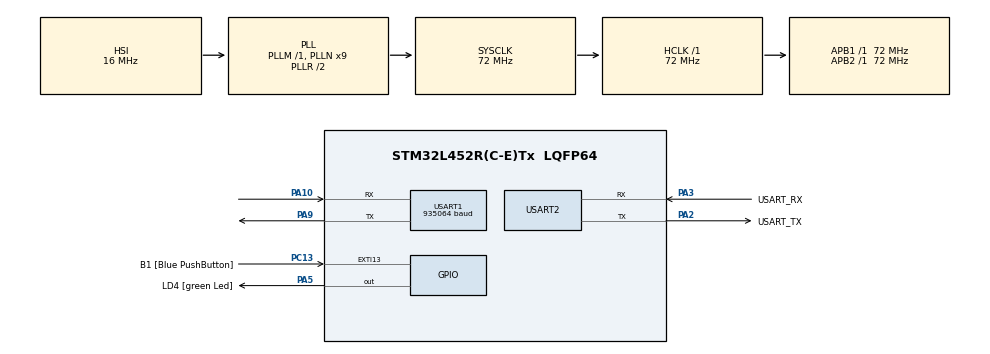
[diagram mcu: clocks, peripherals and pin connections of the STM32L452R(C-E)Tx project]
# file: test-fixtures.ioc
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Mcu.Family=STM32L4
Mcu.Name=STM32L452R(C-E)Tx
Mcu.Package=LQFP64
NVIC.PriorityGroup=NVIC_PRIORITYGROUP_4
NVIC.USART1_IRQn=true\:0\:0\:false\:false\:true\:true\:true\:true
NVIC.USART2_IRQn=true\:0\:0\:false\:false\:true\:true\:true\:true
PA10.Mode=Asynchronous
PA10.Signal=USART1_RX
PA13\ (JTMS/SWDIO).GPIO_Label=TMS
PA13\ (JTMS/SWDIO).Mode=Serial_Wire
PA13\ (JTMS/SWDIO).Signal=SYS_JTMS-SWDIO
PA14\ (JTCK/SWCLK).GPIO_Label=TCK
PA14\ (JTCK/SWCLK).Mode=Serial_Wire
PA14\ (JTCK/SWCLK).Signal=SYS_JTCK-SWCLK
PA2.GPIO_Label=USART_TX
PA2.GPIO_Mode=GPIO_MODE_AF_PP
PA2.GPIO_PuPd=GPIO_NOPULL
PA2.GPIO_Speed=GPIO_SPEED_FREQ_VERY_HIGH
PA2.Mode=Asynchronous
PA2.Signal=USART2_TX
PA3.GPIO_Label=USART_RX
PA3.GPIO_Mode=GPIO_MODE_AF_PP
PA3.GPIO_PuPd=GPIO_NOPULL
PA3.GPIO_Speed=GPIO_SPEED_FREQ_VERY_HIGH
PA3.Mode=Asynchronous
PA3.Signal=USART2_RX
PA5.GPIO_Label=LD4 [green Led]
PA5.GPIO_ModeDefaultOutputPP=GPIO_MODE_OUTPUT_PP
PA5.GPIO_PuPd=GPIO_NOPULL
PA5.GPIO_Speed=GPIO_SPEED_FREQ_LOW
PA5.Signal=GPIO_Output
PA9.Mode=Asynchronous
PA9.Signal=USART1_TX
PB3\ (JTDO/TRACESWO).GPIO_Label=SWO
PB3\ (JTDO/TRACESWO).Signal=SYS_JTDO-SWO
PC13.GPIO_Label=B1 [Blue PushButton]
PC13.GPIO_ModeDefaultEXTI=GPIO_MODE_IT_FALLING
PC13.GPIO_PuPd=GPIO_NOPULL
PC13.Signal=GPXTI13
PC14-OSC32_IN\ (PC14).Mode=LSE-External-Oscillator
PC14-OSC32_IN\ (PC14).Signal=RCC_OSC32_IN
PC15-OSC32_OUT\ (PC15).Mode=LSE-External-Oscillator
PC15-OSC32_OUT\ (PC15).Signal=RCC_OSC32_OUT
PH0-OSC_IN\ (PH0).Signal=RCC_OSC_IN
PH1-OSC_OUT\ (PH1).Signal=RCC_OSC_OUT
ProjectManager.HeapSize=0x200
ProjectManager.StackSize=0x400
ProjectManager.TargetToolchain=STM32CubeIDE
RCC.ADCFreq_Value=64000000
RCC.AHBFreq_Value=72000000
RCC.APB1Freq_Value=72000000
RCC.APB1TimFreq_Value=72000000
RCC.APB2Freq_Value=72000000
RCC.APB2TimFreq_Value=72000000
RCC.CortexFreq_Value=72000000
RCC.HCLKFreq_Value=72000000
RCC.HSE_VALUE=8000000
RCC.HSI48_VALUE=48000000
RCC.HSI_VALUE=16000000
RCC.MSI_VALUE=4000000
RCC.PLLN=9
RCC.PLLSourceVirtual=RCC_PLLSOURCE_HSI
RCC.PREFETCH_ENABLE=1
RCC.SYSCLKFreq_VALUE=72000000
RCC.SYSCLKSource=RCC_SYSCLKSOURCE_PLLCLK
RCC.USBFreq_Value=64000000
RCC.VCOOutputFreq_Value=144000000
USART1.VirtualMode-Asynchronous=VM_ASYNC
USART2.VirtualMode-Asynchronous=VM_ASYNC
board=NUCLEO-L452RE
USART1.BaudRate=935064

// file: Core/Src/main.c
/* USER CODE BEGIN Header */
/**
  ******************************************************************************
  * @file           : main.c
  * @brief          : Main program body
  ******************************************************************************
  * @attention
  *
  * Copyright (c) 2026 STMicroelectronics.
  * All rights reserved.
  *
  * This software is licensed under terms that can be found in the LICENSE file
  * in the root directory of this software component.
  * If no LICENSE file comes with this software, it is provided AS-IS.
  *
  ******************************************************************************
  */
/* USER CODE END Header */
#include "main.h"
#include <stdio.h>
#include <stdlib.h>
#include <string.h>

/* USER CODE BEGIN PTD */
typedef struct {
  uint8_t data[256];
  volatile uint16_t head;
  volatile uint16_t tail;
} RxQueue;

/* USER CODE END PTD */

/* USER CODE BEGIN PD */
/* 1: USB USART2 <-> external USART1 for the D8-D2 jumper test.
 * 0: echo USART1 payload back to USART1 for the later SiWx917 test.
 * Remove the D8-D2 jumper BEFORE selecting mode 0. */
#define LOCAL_TEST 0

/* USER CODE END PD */

UART_HandleTypeDef huart1;
UART_HandleTypeDef huart2;

/* USER CODE BEGIN PV */
static RxQueue target_queue;
static RxQueue usb_queue;
static uint8_t target_byte;
static uint8_t usb_byte;
#define TARGET_DMA_RX_SIZE 16384U
static uint8_t target_dma_rx[TARGET_DMA_RX_SIZE];
static uint32_t target_dma_read;
static uint32_t target_dma_consumed;
volatile uint32_t target_dma_rx_wraps, target_dma_produced_bytes;
volatile uint32_t target_dma_overrun_bytes, target_dma_backpressure;
volatile uint32_t target_uart_brr;
volatile uint32_t target_fixture_version = 0x00030800U;
volatile uint32_t target_dma_received_bytes;
volatile uint32_t target_dma_rx_hash = 2166136261U;
volatile uint32_t target_dma_errors;
volatile uint32_t uart_overrun_errors;
volatile uint32_t uart_framing_errors;
volatile uint32_t uart_noise_errors;
volatile uint32_t uart_last_error_flags;
#define TARGET_DMA_TX_SIZE 16384U
static uint8_t target_dma_tx[TARGET_DMA_TX_SIZE];
static volatile uint32_t target_tx_head, target_tx_tail, target_tx_active;
volatile uint32_t target_dma_transmitted_bytes, target_dma_tx_errors, target_dma_tx_queue_peak;
volatile uint32_t target_dma_tx_hash = 2166136261U;
static volatile uint32_t target_tx_failed;

volatile uint32_t uart_errors = 0;
volatile uint32_t queue_overflows = 0;

/* USER CODE END PV */

void SystemClock_Config(void);
static void MX_GPIO_Init(void);
static void MX_USART1_UART_Init(void);
static void MX_USART2_UART_Init(void);

/* USER CODE BEGIN 0 */
/* One ISR producer and one main-loop consumer per queue. */
static void queue_push(RxQueue *q, uint8_t value)
{
  uint16_t next = (uint16_t)((q->head + 1U) & 255U);
  if (next == q->tail) {
    queue_overflows++;
    return;
  }

  q->data[q->head] = value;
  __DMB();
  q->head = next;
}

static int queue_pop(RxQueue *q, uint8_t *value)
{
  if (q->head == q->tail) {
    return 0;
  }

  __DMB();
  *value = q->data[q->tail];
  __DMB();
  q->tail = (uint16_t)((q->tail + 1U) & 255U);
  return 1;
}

void HAL_UART_RxCpltCallback(UART_HandleTypeDef *huart)
{
  /* No blocking UART transmission in the interrupt callback. */
  if (huart->Instance == USART1) {
    uint8_t received = target_byte;
    if (HAL_UART_Receive_IT(&huart1, &target_byte, 1U) != HAL_OK) {
      uart_errors++;
    }
    queue_push(&target_queue, received);
  }
  else if (huart->Instance == USART2) {
    uint8_t received = usb_byte;
    if (HAL_UART_Receive_IT(&huart2, &usb_byte, 1U) != HAL_OK) {
      uart_errors++;
    }
    queue_push(&usb_queue, received);
  }
}

void HAL_UART_ErrorCallback(UART_HandleTypeDef *huart)
{
  uart_errors++;

  /* HAL can stop reception after an overrun. Re-arm if it was stopped;
   * non-blocking framing/parity errors can leave reception active. */
  if (huart->RxState == HAL_UART_STATE_READY) {
    if (huart->Instance == USART1) {
      if (HAL_UART_Receive_IT(&huart1, &target_byte, 1U) != HAL_OK) {
        uart_errors++;
      }
    }
    else if (huart->Instance == USART2 && LOCAL_TEST) {
      if (HAL_UART_Receive_IT(&huart2, &usb_byte, 1U) != HAL_OK) {
        uart_errors++;
      }
    }
  }
}

/* RM0394: USART1_TX uses DMA1 channel4, request2. Re-arm on DMA
 * completion while the last byte is still in the UART, avoiding inter-block
 * stop-and-wait gaps. RX capture and main-loop hashing stay independent. */
static void target_dma_tx_kick(void)
{
  if (target_tx_active || target_tx_failed || target_tx_head == target_tx_tail) return;
  uint32_t count = (target_tx_head + TARGET_DMA_TX_SIZE - target_tx_tail) % TARGET_DMA_TX_SIZE;
  if (count > TARGET_DMA_TX_SIZE - target_tx_tail) count = TARGET_DMA_TX_SIZE - target_tx_tail;
  if (count > 1024U) count = 1024U;
  DMA1_Channel4->CCR = 0U;
  DMA1->IFCR = DMA_IFCR_CGIF4;
  DMA1_Channel4->CMAR = (uint32_t)&target_dma_tx[target_tx_tail];
  DMA1_Channel4->CNDTR = count;
  target_tx_active = count;
  __DMB();
  DMA1_Channel4->CCR = DMA_CCR_MINC | DMA_CCR_DIR | DMA_CCR_PL_1
                    | DMA_CCR_TCIE | DMA_CCR_TEIE | DMA_CCR_EN;
}

void DMA1_Channel4_IRQHandler(void)
{
  uint32_t flags = DMA1->ISR;
  if (flags & DMA_ISR_TEIF4) {
    DMA1_Channel4->CCR = 0U;
    DMA1->IFCR = DMA_IFCR_CGIF4;
    target_dma_tx_errors++;
    target_tx_failed = 1U;
    return;
  }
  if (flags & DMA_ISR_TCIF4) {
    DMA1_Channel4->CCR = 0U;
    DMA1->IFCR = DMA_IFCR_CGIF4;
    uint32_t count = target_tx_active;
    target_dma_transmitted_bytes += count;
    target_tx_tail = (target_tx_tail + count) % TARGET_DMA_TX_SIZE;
    target_tx_active = 0U;
    target_dma_tx_kick();
  }
}

/* Count full circular DMA laps. Modulo NDTR alone cannot detect lost laps. */
void DMA1_Channel5_IRQHandler(void)
{
  uint32_t flags = DMA1->ISR;
  if (flags & DMA_ISR_TEIF5) target_dma_errors++;
  if (flags & DMA_ISR_TCIF5) target_dma_rx_wraps++;
  DMA1->IFCR = DMA_IFCR_CGIF5;
}

/* USART1_RX: DMA1 channel 5, request 2 (RM0394 DMA1 request table).
 * Keep capture active while main transmits whole blocks back to the radio. */
static void target_dma_start(void)
{
  __HAL_RCC_DMA1_CLK_ENABLE();
  DMA1_Channel5->CCR = 0U;
  DMA1_CSELR->CSELR = (DMA1_CSELR->CSELR & ~DMA_CSELR_C5S) | (2U << DMA_CSELR_C5S_Pos);
  DMA1_Channel5->CPAR = (uint32_t)&USART1->RDR;
  DMA1_Channel5->CMAR = (uint32_t)target_dma_rx;
  DMA1_Channel5->CNDTR = TARGET_DMA_RX_SIZE;
  DMA1->IFCR = DMA_IFCR_CGIF5;
  HAL_NVIC_SetPriority(DMA1_Channel5_IRQn, 0U, 0U);
  HAL_NVIC_EnableIRQ(DMA1_Channel5_IRQn);
  DMA1_Channel5->CCR = DMA_CCR_MINC | DMA_CCR_CIRC | DMA_CCR_PL_1
                    | DMA_CCR_TCIE | DMA_CCR_TEIE | DMA_CCR_EN;
  USART1->ICR = USART_ICR_ORECF | USART_ICR_FECF | USART_ICR_NCF | USART_ICR_PECF;
  DMA1_Channel4->CCR = 0U;
  DMA1_CSELR->CSELR = (DMA1_CSELR->CSELR & ~DMA_CSELR_C4S) | (2U << DMA_CSELR_C4S_Pos);
  DMA1_Channel4->CPAR = (uint32_t)&USART1->TDR;
  DMA1->IFCR = DMA_IFCR_CGIF4;
  HAL_NVIC_SetPriority(DMA1_Channel4_IRQn, 1U, 0U);
  HAL_NVIC_EnableIRQ(DMA1_Channel4_IRQn);
  USART1->CR3 |= USART_CR3_DMAR | USART_CR3_DMAT;
}

static void target_dma_echo(void)
{
  uint32_t errors = USART1->ISR & (USART_ISR_ORE | USART_ISR_FE | USART_ISR_NE | USART_ISR_PE);
  if (errors != 0U) {
    uart_errors++;
    uart_last_error_flags = errors;
    if (errors & USART_ISR_ORE) uart_overrun_errors++;
    if (errors & USART_ISR_FE) uart_framing_errors++;
    if (errors & USART_ISR_NE) uart_noise_errors++;
    USART1->ICR = USART_ICR_ORECF | USART_ICR_FECF | USART_ICR_NCF | USART_ICR_PECF;
  }
  /* Capture the lap count and NDTR atomically with respect to the ISR.
   * A pending TC means hardware wrapped before the ISR could count it.
   * At NDTR=0 the old lap's endpoint already represents that same byte. */
  uint32_t state = __get_PRIMASK(); __disable_irq();
  uint32_t wraps = target_dma_rx_wraps;
  uint32_t remaining = DMA1_Channel5->CNDTR;
  if (DMA1->ISR & DMA_ISR_TCIF5) {
    remaining = DMA1_Channel5->CNDTR;
    if (remaining) wraps++;
  }
  uint32_t produced = wraps * TARGET_DMA_RX_SIZE + TARGET_DMA_RX_SIZE - remaining;
  __set_PRIMASK(state);
  target_dma_produced_bytes = produced;
  uint32_t length = produced - target_dma_consumed;
  if (length > TARGET_DMA_RX_SIZE) {
    target_dma_overrun_bytes += length - TARGET_DMA_RX_SIZE;
    queue_overflows++;
    target_dma_consumed = produced - TARGET_DMA_RX_SIZE;
    length = TARGET_DMA_RX_SIZE;
  }
  target_dma_read = target_dma_consumed % TARGET_DMA_RX_SIZE;
  if (length > TARGET_DMA_RX_SIZE - target_dma_read) length = TARGET_DMA_RX_SIZE - target_dma_read;
  if (length > 128U) length = 128U;
  if (length > 0U) {
    uint32_t head = target_tx_head;
    uint32_t free_bytes = (target_tx_tail + TARGET_DMA_TX_SIZE - head - 1U) % TARGET_DMA_TX_SIZE;
    if (target_tx_failed) return;
    if (free_bytes < length) { target_dma_backpressure++; length = free_bytes; }
    if (!length) return;
    __DMB();
    for (uint32_t i = 0; i < length; ++i) {
      uint8_t value = target_dma_rx[target_dma_read + i];
      target_dma_tx[(head + i) % TARGET_DMA_TX_SIZE] = value;
      target_dma_rx_hash = (target_dma_rx_hash ^ value) * 16777619U;
      /* Hash accepted TX bytes here; keep completion IRQ short enough to
       * refill TDR while the previous character is still on the wire. */
      target_dma_tx_hash = (target_dma_tx_hash ^ value) * 16777619U;
    }
    target_dma_consumed += length;
    target_dma_read = target_dma_consumed % TARGET_DMA_RX_SIZE;
    target_dma_received_bytes += length;
    __DMB();
    uint32_t irq_state = __get_PRIMASK();
    __disable_irq();
    target_tx_head = (head + length) % TARGET_DMA_TX_SIZE;
    uint32_t pending = (target_tx_head + TARGET_DMA_TX_SIZE - target_tx_tail) % TARGET_DMA_TX_SIZE;
    if (pending > target_dma_tx_queue_peak) target_dma_tx_queue_peak = pending;
    target_dma_tx_kick();
    __set_PRIMASK(irq_state);
  }
}

/* Test-only control through ST-LINK USART2; target payload stays arbitrary. */
static uint32_t fixture_nominal_baud=921600U;
static uint32_t fixture_driver_baud=935064U;
static char fixture_command[48];
static unsigned fixture_command_used;
static uint32_t fixture_last_rx_count,fixture_last_rx_tick;
static int fixture_supported(uint32_t b)
{ return b==9600U || b==57600U || b==115200U || b==230400U || b==460800U || b==921600U; }
static void fixture_reply(const char *text)
{ (void)HAL_UART_Transmit(&huart2,(const uint8_t *)text,(uint16_t)strlen(text),100U); }
static void fixture_status(void)
{
  char reply[96];
  snprintf(reply,sizeof(reply),"OK %lu %lu %lu\n",(unsigned long)fixture_nominal_baud,
           (unsigned long)fixture_driver_baud,(unsigned long)USART1->BRR);
  fixture_reply(reply);
}
static void fixture_command_service(void)
{
  if(fixture_last_rx_count!=target_dma_received_bytes) {
    fixture_last_rx_count=target_dma_received_bytes;fixture_last_rx_tick=HAL_GetTick();
  }
  if(!(USART2->ISR & USART_ISR_RXNE)) return;
  char c=(char)USART2->RDR;
  if(c=='\r') return;
  if(c!='\n') {
    if(fixture_command_used<sizeof(fixture_command)-1) fixture_command[fixture_command_used++]=c;
    else { fixture_command_used=0;fixture_reply("ERR command-too-long\n"); }
    return;
  }
  fixture_command[fixture_command_used]=0;fixture_command_used=0;
  if(strcmp(fixture_command,"STATUS")==0) { fixture_status();return; }
  if(strncmp(fixture_command,"BAUD ",5)!=0) { fixture_reply("ERR command\n");return; }
  char *end;unsigned long rate=strtoul(fixture_command+5,&end,10);
  if(*end || !fixture_supported(rate)) { fixture_reply("ERR unsupported\n");return; }
  if(target_tx_failed || target_tx_active || target_tx_head!=target_tx_tail
     || target_dma_produced_bytes!=target_dma_consumed || !(USART1->ISR & USART_ISR_TC)
     || (USART1->ISR & USART_ISR_BUSY) || HAL_GetTick()-fixture_last_rx_tick<5U) {
    fixture_reply("ERR busy\n");return;
  }
  uint32_t driver=(uint32_t)(((uint64_t)rate*935064U+460800U)/921600U);
  uint32_t state=__get_PRIMASK();__disable_irq();
  DMA1_Channel5->CCR=0;DMA1_Channel4->CCR=0;
  USART1->CR3 &= ~(USART_CR3_DMAR | USART_CR3_DMAT);
  /* HAL timeout accounting needs SysTick while it waits for ACK flags. */
  __set_PRIMASK(state);
  huart1.Init.BaudRate=driver;
  if(HAL_UART_Init(&huart1)!=HAL_OK) {
    __set_PRIMASK(state);fixture_reply("ERR uart\n");Error_Handler();
  }
  __disable_irq();
  target_dma_read=target_dma_consumed=target_dma_rx_wraps=target_dma_produced_bytes=0;
  target_tx_head=target_tx_tail=target_tx_active=0;
  target_dma_start();target_uart_brr=USART1->BRR;
  fixture_nominal_baud=rate;fixture_driver_baud=driver;
  __set_PRIMASK(state);fixture_status();
}

/* USER CODE END 0 */

int main(void)
{

  /* MCU Configuration--------------------------------------------------------*/

  /* Reset of all peripherals, Initializes the Flash interface and the Systick. */
  HAL_Init();

  /* Configure the system clock */
  SystemClock_Config();

  /* Initialize all configured peripherals */
  MX_GPIO_Init();
  MX_USART1_UART_Init();
  MX_USART2_UART_Init();
  /* USER CODE BEGIN 2 */
  if (LOCAL_TEST) {
    if (HAL_UART_Receive_IT(&huart1, &target_byte, 1U) != HAL_OK) Error_Handler();
  } else {
    target_dma_start();
  }

  if (LOCAL_TEST) {
    if (HAL_UART_Receive_IT(&huart2, &usb_byte, 1U) != HAL_OK) {
      Error_Handler();
    }

    static const uint8_t ready[] = "READY\r\n";
    if (HAL_UART_Transmit(&huart2, ready, sizeof(ready) - 1U, 100U) != HAL_OK) {
      Error_Handler();
    }
  }

  /* USER CODE END 2 */

  /* Infinite loop */
  while (1)
  {

    /* USER CODE BEGIN 3 */
    uint8_t value;
    if (!LOCAL_TEST) { target_dma_echo();fixture_command_service(); }

    /* Laptop USB/VCOM -> USART1 TX, during the local jumper test. */
    if (LOCAL_TEST && queue_pop(&usb_queue, &value)) {
      if (HAL_UART_Transmit(&huart1, &value, 1U, 100U) != HAL_OK) {
        uart_errors++;
      }
    }

    /* USART1 RX -> USB in local mode; USART1 RX -> TX in radio mode. */
    if (queue_pop(&target_queue, &value)) {
      UART_HandleTypeDef *destination = LOCAL_TEST ? &huart2 : &huart1;
      if (HAL_UART_Transmit(destination, &value, 1U, 100U) != HAL_OK) {
        uart_errors++;
      }
    }
  }
  /* USER CODE END 3 */
}

void SystemClock_Config(void)
{
  RCC_OscInitTypeDef RCC_OscInitStruct = {0};
  RCC_ClkInitTypeDef RCC_ClkInitStruct = {0};

  /** Configure the main internal regulator output voltage
  */
  if (HAL_PWREx_ControlVoltageScaling(PWR_REGULATOR_VOLTAGE_SCALE1) != HAL_OK)
  {
    Error_Handler();
  }

  /** Initializes the RCC Oscillators according to the specified parameters
  * in the RCC_OscInitTypeDef structure.
  */
  RCC_OscInitStruct.OscillatorType = RCC_OSCILLATORTYPE_HSI;
  RCC_OscInitStruct.HSIState = RCC_HSI_ON;
  RCC_OscInitStruct.HSICalibrationValue = 64;
  RCC_OscInitStruct.PLL.PLLState = RCC_PLL_ON;
  RCC_OscInitStruct.PLL.PLLSource = RCC_PLLSOURCE_HSI;
  RCC_OscInitStruct.PLL.PLLM = 1;
  RCC_OscInitStruct.PLL.PLLN = 9;
  RCC_OscInitStruct.PLL.PLLP = RCC_PLLP_DIV7;
  RCC_OscInitStruct.PLL.PLLQ = RCC_PLLQ_DIV2;
  RCC_OscInitStruct.PLL.PLLR = RCC_PLLR_DIV2;
  if (HAL_RCC_OscConfig(&RCC_OscInitStruct) != HAL_OK)
  {
    Error_Handler();
  }

  /** Initializes the CPU, AHB and APB buses clocks
  */
  RCC_ClkInitStruct.ClockType = RCC_CLOCKTYPE_HCLK|RCC_CLOCKTYPE_SYSCLK
                              |RCC_CLOCKTYPE_PCLK1|RCC_CLOCKTYPE_PCLK2;
  RCC_ClkInitStruct.SYSCLKSource = RCC_SYSCLKSOURCE_PLLCLK;
  RCC_ClkInitStruct.AHBCLKDivider = RCC_SYSCLK_DIV1;
  RCC_ClkInitStruct.APB1CLKDivider = RCC_HCLK_DIV1;
  RCC_ClkInitStruct.APB2CLKDivider = RCC_HCLK_DIV1;

  if (HAL_RCC_ClockConfig(&RCC_ClkInitStruct, FLASH_LATENCY_4) != HAL_OK)
  {
    Error_Handler();
  }
}

static void MX_USART1_UART_Init(void)
{

  huart1.Instance = USART1;
  /* Fixture headroom:72MHz/77=935064 baud, +1.46% from nominal921600.
   * Radio B is928882 baud: relative mismatch0.67%, before HSI tolerance.
   * BRR78 left only0.16% nominal throughput margin, below HSI accuracy. */
  huart1.Init.BaudRate = 935064;
  huart1.Init.WordLength = UART_WORDLENGTH_8B;
  huart1.Init.StopBits = UART_STOPBITS_1;
  huart1.Init.Parity = UART_PARITY_NONE;
  huart1.Init.Mode = UART_MODE_TX_RX;
  huart1.Init.HwFlowCtl = UART_HWCONTROL_NONE;
  huart1.Init.OverSampling = UART_OVERSAMPLING_16;
  huart1.Init.OneBitSampling = UART_ONE_BIT_SAMPLE_DISABLE;
  huart1.AdvancedInit.AdvFeatureInit = UART_ADVFEATURE_NO_INIT;
  if (HAL_UART_Init(&huart1) != HAL_OK)
  {
    Error_Handler();
  }
  /* USER CODE BEGIN USART1_Init 2 */
  target_uart_brr = USART1->BRR;

  /* USER CODE END USART1_Init 2 */

}

static void MX_USART2_UART_Init(void)
{

  huart2.Instance = USART2;
  huart2.Init.BaudRate = 115200;
  huart2.Init.WordLength = UART_WORDLENGTH_8B;
  huart2.Init.StopBits = UART_STOPBITS_1;
  huart2.Init.Parity = UART_PARITY_NONE;
  huart2.Init.Mode = UART_MODE_TX_RX;
  huart2.Init.HwFlowCtl = UART_HWCONTROL_NONE;
  huart2.Init.OverSampling = UART_OVERSAMPLING_16;
  huart2.Init.OneBitSampling = UART_ONE_BIT_SAMPLE_DISABLE;
  huart2.AdvancedInit.AdvFeatureInit = UART_ADVFEATURE_NO_INIT;
  if (HAL_UART_Init(&huart2) != HAL_OK)
  {
    Error_Handler();
  }

}

static void MX_GPIO_Init(void)
{
  GPIO_InitTypeDef GPIO_InitStruct = {0};

  /* GPIO Ports Clock Enable */
  __HAL_RCC_GPIOC_CLK_ENABLE();
  __HAL_RCC_GPIOH_CLK_ENABLE();
  __HAL_RCC_GPIOA_CLK_ENABLE();
  __HAL_RCC_GPIOB_CLK_ENABLE();

  /*Configure GPIO pin Output Level */
  HAL_GPIO_WritePin(LD4_GPIO_Port, LD4_Pin, GPIO_PIN_RESET);

  /*Configure GPIO pin : B1_Pin */
  GPIO_InitStruct.Pin = B1_Pin;
  GPIO_InitStruct.Mode = GPIO_MODE_IT_FALLING;
  GPIO_InitStruct.Pull = GPIO_NOPULL;
  HAL_GPIO_Init(B1_GPIO_Port, &GPIO_InitStruct);

  /*Configure GPIO pin : LD4_Pin */
  GPIO_InitStruct.Pin = LD4_Pin;
  GPIO_InitStruct.Mode = GPIO_MODE_OUTPUT_PP;
  GPIO_InitStruct.Pull = GPIO_NOPULL;
  GPIO_InitStruct.Speed = GPIO_SPEED_FREQ_LOW;
  HAL_GPIO_Init(LD4_GPIO_Port, &GPIO_InitStruct);

}

void Error_Handler(void)
{
  __disable_irq();
  while (1)
  {
  }
}
